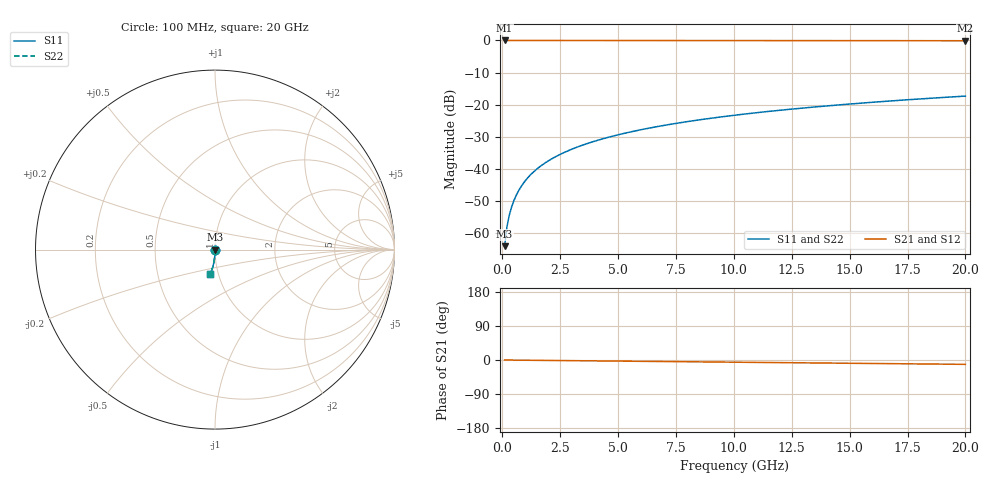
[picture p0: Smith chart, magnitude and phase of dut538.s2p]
! Touchstone file exported from HFSS 2026.1.0
!  File:  C:/ffzhzh/LocalFiles/Ansys_Project_Files/temp_train_TSV_538_1783023970_55676.aedt
!  Generated:  04:27:40 AM Jul  3, 2026
!  Design:  TSV
!  Project:  temp_train_TSV_538_1783023970_55676
! Variables:
!  h_bsmrdl = 2um
!  h_ox = 20um
!  h_rdl = 5um
!  h_sub = 91.26um
!  h_tmrdl = 5um
!  h_tsv = 91.26um
!  h_via = 3um
!  l_bsmrdl = 300um
!  l_sub = 426.68um
!  l_tmrdl = 200um
!  m_sub = 200um
!  pitch = 31.16um
!  r_tsv = 13.34um
!  s_tmrdl = 10um
!  w_bsmrdl = 18um
!  w_sub = 500um
!  w_tmrdl = 12um
!  x_tsv_center1 = 206um
!  x_tsv_center2 = 524um
!  x_tsv_center3 = 736um
!  x_tsv_center4 = 1054um
!  x_tsv_center5 = 1266um
!  x_tsv_center6 = 1584um
# GHz S MA R 50.000000
! Terminal data exported
! Port[1] = TSV1_1_T1
! Port[2] = TSV1_1_T2
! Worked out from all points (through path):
!   200 points, 100 MHz to 20 GHz, reference 50 ohm
!   highest |S21| = 0.00 dB at 100 MHz (marker M1); lowest = -0.1 dB at 20 GHz (marker M2)
!   group delay of S21, straight-line fit = 1.59 ps
!   lowest |S11| = -64.0 dB at 100 MHz (marker M3), VSWR 1.00, Z = 50 - j0.0622 ohm
!   |S11| at or under -10 dB: start of sweep to end of sweep
!   |S22| runs from -64.0 to -17.3 dB; largest |S21 - S12| = 3.1e-15
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0.1  0.0006315 -80.0  0.9999 -0.1  0.9999 -0.1  0.0006315 -80.0
! Gamma 0 0 0 0
! Port Impedance 50 0 50 0
0.2  0.001258 -84.0  0.9999 -0.1  0.9999 -0.1  0.001258 -84.0
0.3  0.001899 -85.1  0.9998 -0.2  0.9998 -0.2  0.001899 -85.1
0.4  0.002554 -85.6  0.9998 -0.2  0.9998 -0.2  0.002554 -85.6
0.5  0.003219 -85.9  0.9997 -0.3  0.9997 -0.3  0.003219 -85.9
0.7  0.004571 -86.5  0.9997 -0.4  0.9997 -0.4  0.004571 -86.5
0.8  0.005254 -86.7  0.9996 -0.5  0.9996 -0.5  0.005254 -86.7
1  0.006624 -87.2  0.9996 -0.6  0.9996 -0.6  0.006624 -87.2
1.2  0.007997 -87.7  0.9995 -0.7  0.9995 -0.7  0.007997 -87.7
1.4  0.00937 -88.1  0.9995 -0.8  0.9995 -0.8  0.00937 -88.1
1.7  0.01143 -88.5  0.9994 -1.0  0.9994 -1.0  0.01143 -88.5
2  0.01349 -89.0  0.9994 -1.2  0.9994 -1.2  0.01349 -89.0
2.7  0.01828 -89.7  0.9992 -1.6  0.9992 -1.6  0.01828 -89.7
3.5  0.02377 -90.4  0.999 -2.0  0.999 -2.0  0.02377 -90.4
4.2  0.02858 -91.0  0.9989 -2.4  0.9989 -2.4  0.02858 -91.0
5  0.03408 -91.5  0.9986 -2.9  0.9986 -2.9  0.03408 -91.5
6.8  0.04648 -92.8  0.998 -3.9  0.998 -3.9  0.04648 -92.8
8.3  0.0568 -93.7  0.9973 -4.8  0.9973 -4.8  0.0568 -93.7
10.1  0.06916 -94.9  0.9964 -5.8  0.9964 -5.8  0.06916 -94.9
13.4  0.09173 -96.9  0.9944 -7.7  0.9944 -7.7  0.09173 -96.9
16.7  0.1141 -98.8  0.9919 -9.6  0.9919 -9.6  0.1141 -98.8
20  0.1363 -100.8  0.9889 -11.5  0.9889 -11.5  0.1363 -100.8
